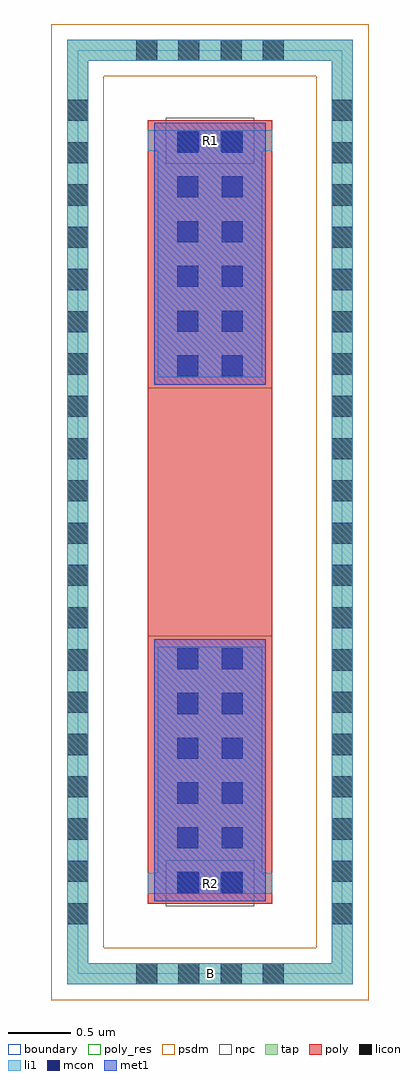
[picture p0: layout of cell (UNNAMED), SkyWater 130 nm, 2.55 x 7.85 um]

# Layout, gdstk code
import gdstk
lib = gdstk.Library(unit=1e-6, precision=1e-09)
def R(c, l, rs):  # rectangles x0, y0, x1, y1
    for r in rs: c.add(gdstk.rectangle(r[:2], r[2:], *l))
def A(c, l, x, y, w, h, nx, ny, dx, dy):  # array of equal rectangles
    R(c, l, [(x+i*dx, y+j*dy, x+i*dx+w, y+j*dy+h) for i in range(nx) for j in range(ny)])
tap = (65, 44)
poly_res = (66, 13)
poly = (66, 20)
licon = (66, 44)
li1 = (67, 20)
mcon = (67, 44)
met1 = (68, 20)
psdm = (94, 20)
npc = (95, 20)
boundary = (235, 4)

c__unnamed_ = lib.new_cell('(UNNAMED)')
R(c__unnamed_, tap, [(-1.15,-3.8,1.15,-3.63), (-1.15,-3.63,-0.98,3.63), (0.98,-3.63,1.15,3.63), (-1.15,3.63,1.15,3.8)])
R(c__unnamed_, poly_res, [(-0.5,-1,0.5,1)])
R(c__unnamed_, poly, [(-0.5,-3.15,0.5,3.15)])
A(c__unnamed_, licon, -0.595, -3.8, 0.17, 0.17, 4, 2, 0.34, 7.43)
A(c__unnamed_, licon, -1.15, -3.315, 0.17, 0.17, 1, 20, 0, 0.34)
A(c__unnamed_, licon, 0.98, -3.315, 0.17, 0.17, 1, 20, 0, 0.34)
R(c__unnamed_, licon, [(-0.255,-3.07,-0.085,-2.9), (0.085,-3.07,0.255,-2.9), (-0.255,2.9,-0.085,3.07), (0.085,2.9,0.255,3.07)])
R(c__unnamed_, li1, [(-1.15,-3.8,1.15,-3.63), (-1.15,-3.63,-0.98,3.63), (0.98,-3.63,1.15,3.63), (-0.5,-3.07,0.5,-2.9), (-0.42,-2.9,0.42,-1.085), (-0.42,1.085,0.42,2.9), (-0.5,2.9,0.5,3.07), (-1.15,3.63,1.15,3.8)])
A(c__unnamed_, mcon, -0.265, -3.065, 0.17, 0.17, 1, 6, 0, 0.36)
A(c__unnamed_, mcon, 0.095, -3.065, 0.17, 0.17, 1, 6, 0, 0.36)
A(c__unnamed_, mcon, -0.265, 1.09, 0.17, 0.17, 1, 6, 0, 0.36)
A(c__unnamed_, mcon, 0.095, 1.09, 0.17, 0.17, 1, 6, 0, 0.36)
R(c__unnamed_, met1, [(-0.45,-3.13,0.45,-1.025), (-0.45,1.025,0.45,3.13)])
R(c__unnamed_, psdm, [(-1.275,-3.925,1.275,-3.505), (-1.275,-3.505,-0.855,3.505), (0.855,-3.505,1.275,3.505), (-1.275,3.505,1.275,3.925)])
R(c__unnamed_, npc, [(-0.355,-3.17,0.355,-2.8), (-0.355,2.8,0.355,3.17)])
R(c__unnamed_, boundary, [(-1.065,-3.715,1.065,3.715)])
c__unnamed_.add(gdstk.Label('B', (0,-3.715), layer=67, texttype=5))
c__unnamed_.add(gdstk.Label('R1', (0,2.985), layer=67, texttype=5))
c__unnamed_.add(gdstk.Label('R2', (0,-2.985), layer=67, texttype=5))

lib.write_gds('_UNNAMED_.gds')
